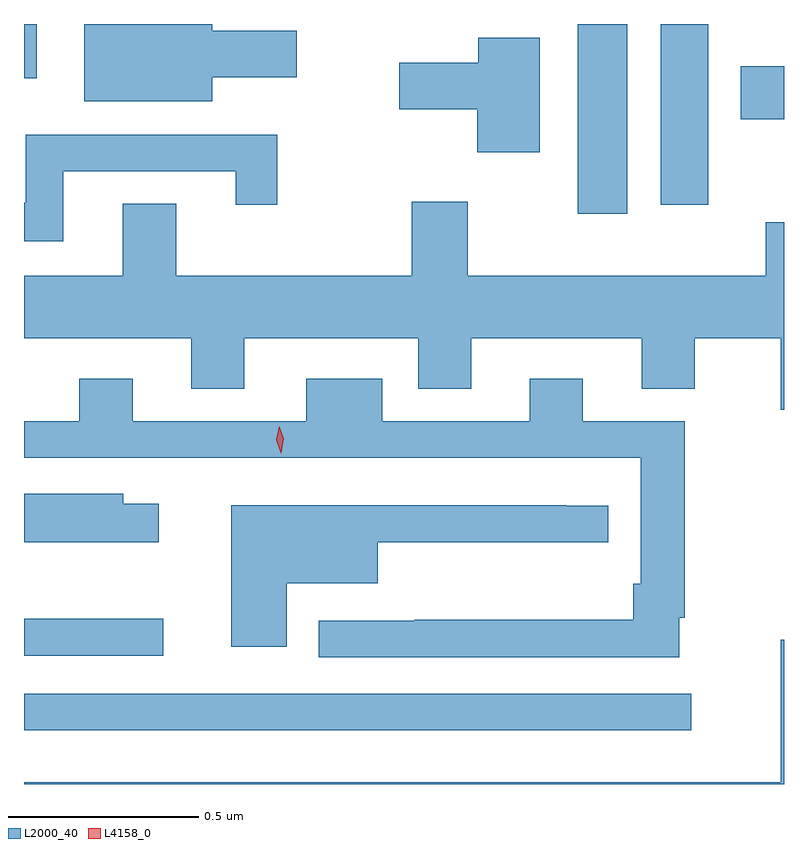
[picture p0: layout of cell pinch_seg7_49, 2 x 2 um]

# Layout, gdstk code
import gdstk
lib = gdstk.Library(unit=1e-6, precision=1e-09)
def R(c, l, rs):  # rectangles x0, y0, x1, y1
    for r in rs: c.add(gdstk.rectangle(r[:2], r[2:], *l))
def P(c, l, *ps):  # polygons
    for p in ps: c.add(gdstk.Polygon(p, *l))
L2000_40 = (2000, 40)
L4158_0 = (4158, 0)

pinch_seg7_49 = lib.new_cell('pinch_seg7_49')
R(pinch_seg7_49, L2000_40, [(882.297,1052.864,884.053,1052.961), (882.297,1053.06,882.664,1053.158), (883.754,1054.224,883.885,1054.723), (883.973,1054.248,884.098,1054.723), (884.183,1054.472,884.297,1054.612), (882.297,1054.58,882.331,1054.723)])
P(pinch_seg7_49, L2000_40, [(882.793,1054.583),(883.015,1054.583),(883.015,1054.705),(882.793,1054.705),(882.793,1054.723),(882.455,1054.723),(882.455,1054.52),(882.793,1054.52)],
  [(883.654,1054.687),(883.492,1054.687),(883.492,1054.621),(883.284,1054.621),(883.284,1054.499),(883.49,1054.499),(883.49,1054.386),(883.654,1054.386)],
  [(882.4,1054.335),(882.854,1054.335),(882.854,1054.248),(882.964,1054.248),(882.964,1054.431),(882.302,1054.431),(882.302,1054.252),(882.297,1054.252),(882.297,1054.151),(882.4,1054.151)],
  [(884.297,1054.201),(884.249,1054.201),(884.249,1054.06),(883.465,1054.06),(883.465,1054.255),(883.318,1054.255),(883.318,1054.06),(882.697,1054.06),(882.697,1054.25),(882.557,1054.25),(882.557,1054.06),(882.297,1054.06),(882.297,1053.896),(882.737,1053.896),(882.737,1053.763),(882.877,1053.763),(882.877,1053.896),(883.334,1053.896),(883.334,1053.763),(883.474,1053.763),(883.474,1053.896),(883.922,1053.896),(883.922,1053.763),(884.062,1053.763),(884.062,1053.896),(884.288,1053.896),(884.288,1053.708),(884.297,1053.708)],
  [(884.021,1053.16),(884.036,1053.16),(884.036,1053.678),(883.768,1053.678),(883.768,1053.79),(883.628,1053.79),(883.628,1053.678),(883.24,1053.678),(883.24,1053.79),(883.04,1053.79),(883.04,1053.678),(882.583,1053.678),(882.583,1053.79),(882.443,1053.79),(882.443,1053.678),(882.297,1053.678),(882.297,1053.582),(883.92,1053.582),(883.92,1053.25),(883.9,1053.25),(883.9,1053.155),(883.324,1053.155),(883.324,1053.153),(883.073,1053.153),(883.073,1053.057),(884.021,1053.057)],
  [(882.652,1053.46),(882.558,1053.46),(882.558,1053.487),(882.297,1053.487),(882.297,1053.359),(882.652,1053.359)],
  [(882.988,1053.251),(883.228,1053.251),(883.228,1053.359),(883.835,1053.359),(883.835,1053.455),(883.724,1053.455),(883.724,1053.456),(883.124,1053.456),(883.124,1053.457),(882.842,1053.457),(882.842,1053.084),(882.988,1053.084)],
  [(884.297,1053.103),(884.288,1053.103),(884.288,1052.728),(882.297,1052.728),(882.297,1052.723),(884.297,1052.723)])
P(pinch_seg7_49, L4158_0, [(882.974,1053.594),(882.973,1053.595),(882.961,1053.629),(882.969,1053.665),(882.969,1053.665),(882.969,1053.665),(882.981,1053.631),(882.974,1053.595)])

lib.write_gds('pinch_seg7_49.gds')
